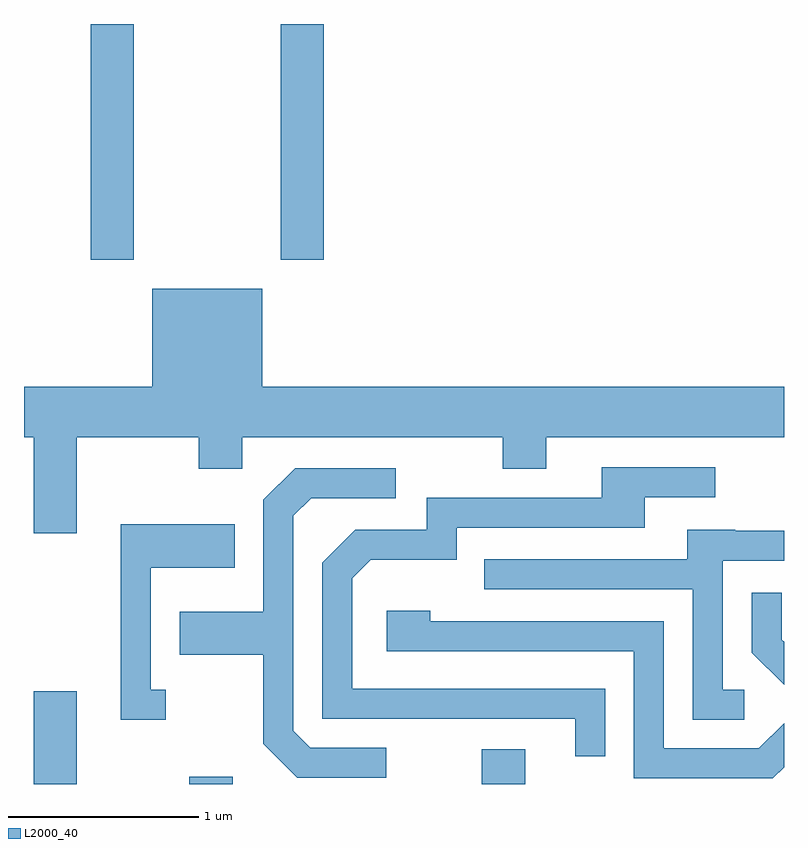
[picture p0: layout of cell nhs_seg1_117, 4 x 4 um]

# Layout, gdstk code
import gdstk
lib = gdstk.Library(unit=1e-6, precision=1e-09)
def R(c, l, rs):  # rectangles x0, y0, x1, y1
    for r in rs: c.add(gdstk.rectangle(r[:2], r[2:], *l))
def P(c, l, *ps):  # polygons
    for p in ps: c.add(gdstk.Polygon(p, *l))
L2000_40 = (2000, 40)

nhs_seg1_117 = lib.new_cell('nhs_seg1_117')
R(nhs_seg1_117, L2000_40, [(187.661,937.712,187.889,938.199), (188.481,937.712,188.709,937.749), (190.021,937.712,190.249,937.894), (187.961,940.471,188.189,941.712), (188.961,940.471,189.189,941.712)])
P(nhs_seg1_117, L2000_40, [(187.889,939.536),(188.531,939.536),(188.531,939.371),(188.759,939.371),(188.759,939.536),(190.131,939.536),(190.131,939.371),(190.359,939.371),(190.359,939.536),(191.611,939.536),(191.611,939.804),(188.864,939.804),(188.864,940.319),(188.286,940.319),(188.286,939.804),(187.611,939.804),(187.611,939.536),(187.661,939.536),(187.661,939.031),(187.889,939.031)],
  [(190.669,938.214),(189.339,938.214),(189.339,938.794),(189.437,938.891),(189.889,938.891),(189.889,939.061),(190.879,939.061),(190.879,939.221),(191.248,939.221),(191.248,939.379),(190.651,939.379),(190.651,939.219),(189.731,939.219),(189.731,939.049),(189.354,939.049),(189.181,938.877),(189.181,938.056),(190.511,938.056),(190.511,937.858),(190.669,937.858)],
  [(189.518,937.904),(189.117,937.904),(189.029,937.992),(189.029,939.124),(189.122,939.216),(189.568,939.216),(189.568,939.374),(189.039,939.374),(188.871,939.207),(188.871,938.619),(188.431,938.619),(188.431,938.391),(188.871,938.391),(188.871,937.924),(189.049,937.746),(189.518,937.746)],
  [(188.358,938.209),(188.279,938.209),(188.279,938.851),(188.719,938.851),(188.719,939.079),(188.121,939.079),(188.121,938.051),(188.358,938.051)],
  [(191.403,938.209),(191.289,938.209),(191.289,938.886),(191.611,938.886),(191.611,939.044),(191.355,939.044),(191.355,939.049),(191.101,939.049),(191.101,938.894),(190.033,938.894),(190.033,938.736),(191.131,938.736),(191.131,938.051),(191.403,938.051)],
  [(191.611,938.46),(191.599,938.472),(191.599,938.718),(191.441,938.718),(191.441,938.404),(191.611,938.234)],
  [(191.611,937.8),(191.611,938.031),(191.479,937.899),(190.979,937.899),(190.979,938.569),(189.749,938.569),(189.749,938.624),(189.521,938.624),(189.521,938.411),(190.821,938.411),(190.821,937.741),(191.552,937.741)])

lib.write_gds('nhs_seg1_117.gds')
